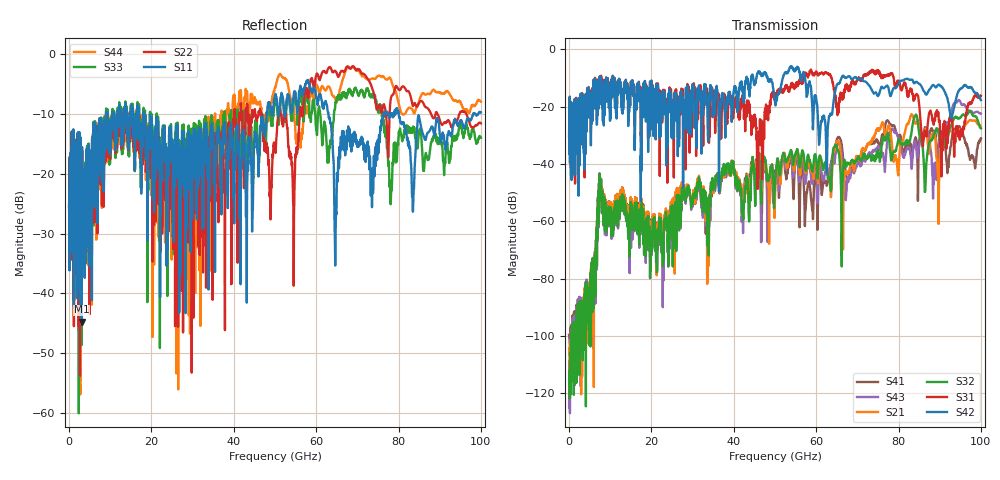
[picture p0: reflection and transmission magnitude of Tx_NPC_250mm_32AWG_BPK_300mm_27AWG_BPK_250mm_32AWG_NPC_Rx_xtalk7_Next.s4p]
! Info: Touchstone file created by Circ.  Input file=Tx_NPC_250mm_32AWG_BPK_300mm_27AWG_BPK_250mm_32AWG_NPC_Rx.circ
# Hz S RI R 50
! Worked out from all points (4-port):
!   10000 points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, 10 MHz to 100 GHz, reference 50 ohm
!   strongest paths, dB at 10 MHz, 25.01 GHz, 50.01 GHz, 75.01 GHz, 100 GHz:
!     S42: -30.6, -19.4, -18.5, -16.3, -17.6
!     S31: -30.6, -18.9, -16.5, -7.5, -16.2
!     S32: -115.7, -56.8, -47.0, -35.1, -27.5
!     S21: -104.2, -54.3, -50.9, -28.4, -26.9
!     S43: -125.0, -56.2, -44.1, -33.7, -22.4
!     S41: -99.6, -54.1, -42.2, -32.7, -31.0
!   lowest |S11| = -44.7 dB at 3.06 GHz (marker M1), VSWR 1.01, Z = 49.5 + j0.231 ohm
!   |S11| at or under -10 dB: 18.12 GHz to 47.97 GHz (29.84 GHz wide, 90.3 % of centre); 62.97 GHz to 76.44 GHz (13.47 GHz wide, 19.3 % of centre); 80.04 GHz to 98.12 GHz (18.08 GHz wide, 20.3 % of centre) (the widest 3 of 47)
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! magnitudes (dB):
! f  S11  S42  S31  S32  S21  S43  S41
! 10 MHz  -25.5  -30.6  -30.6  -115.7  -104.2  -125.0  -99.6
! 3.06 GHz  -44.7  -25.1  -24.6  -90.9  -94.7  -91.9  -93.3
! 7.65 GHz  -15.1  -13.9  -13.4  -46.7  -46.7  -46.5  -46.6
! 21.27 GHz  -10.5  -13.5  -12.8  -73.5  -78.2  -72.2  -75.2
! 38.34 GHz  -21.1  -17.7  -24.9  -40.7  -41.0  -41.2  -41.8
! 88.77 GHz  -13.6  -12.8  -24.4  -29.2  -29.2  -39.6  -28.5
! 100 GHz  -9.8  -17.6  -16.2  -27.5  -26.9  -22.4  -31.0
